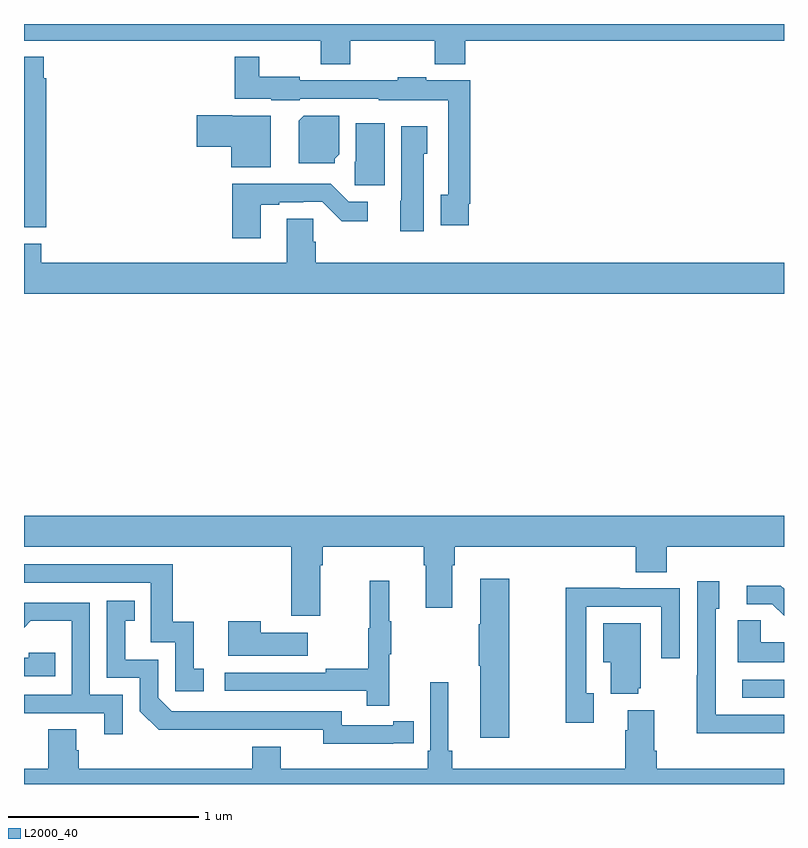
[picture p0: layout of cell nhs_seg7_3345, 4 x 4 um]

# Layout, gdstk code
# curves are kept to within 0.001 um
import gdstk
lib = gdstk.Library(unit=1e-6, precision=1e-09)
def R(c, l, rs):  # rectangles x0, y0, x1, y1
    for r in rs: c.add(gdstk.rectangle(r[:2], r[2:], *l))
def P(c, l, *ps):  # polygons
    for p in ps: c.add(gdstk.Polygon(p, *l))
L2000_40 = (2000, 40)

nhs_seg7_3345 = lib.new_cell('nhs_seg7_3345')
R(nhs_seg7_3345, L2000_40, [(326.781,1034.454,327,1034.55)])
P(nhs_seg7_3345, L2000_40, [(324.717,1037.912),(325.162,1037.912),(325.162,1037.788),(325.322,1037.788),(325.322,1037.912),(327,1037.912),(327,1038),(323,1038),(323,1037.912),(324.562,1037.912),(324.562,1037.788),(324.717,1037.788)],
  [(325.342,1037.053),(325.349,1037.053),(325.349,1037.703),(325.116,1037.703),(325.116,1037.721),(324.966,1037.721),(324.966,1037.703),(324.45,1037.703),(324.45,1037.722),(324.238,1037.722),(324.238,1037.827),(324.109,1037.827),(324.109,1037.606),(324.3,1037.606),(324.3,1037.6),(324.45,1037.6),(324.45,1037.607),(324.867,1037.607),(324.867,1037.6),(325.233,1037.6),(325.233,1037.102),(325.193,1037.102),(325.193,1036.941),(325.342,1036.941)],
  [(323.117,1037.714),(323.104,1037.714),(323.104,1037.827),(323,1037.827),(323,1036.93),(323.117,1036.93)],
  [(324.298,1037.518),(324.096,1037.518),(324.096,1037.52),(323.91,1037.52),(323.91,1037.354),(324.092,1037.354),(324.092,1037.246),(324.298,1037.246)],
  [(324.636,1037.292),(324.658,1037.314),(324.658,1037.518),(324.472,1037.518),(324.446,1037.492),(324.446,1037.267),(324.636,1037.267)],
  [(324.898,1037.478),(324.746,1037.478),(324.746,1037.274),(324.742,1037.274),(324.742,1037.151),(324.898,1037.151)],
  [(325.105,1037.316),(325.123,1037.316),(325.123,1037.461),(324.986,1037.461),(324.986,1037.07),(324.98,1037.07),(324.98,1036.908),(325.105,1036.908)],
  [(324.247,1037.049),(324.343,1037.049),(324.343,1037.061),(324.47,1037.061),(324.47,1037.064),(324.57,1037.064),(324.673,1036.962),(324.808,1036.962),(324.808,1037.064),(324.708,1037.064),(324.614,1037.158),(324.095,1037.158),(324.095,1036.872),(324.247,1036.872)],
  [(327,1036.744),(324.536,1036.744),(324.536,1036.854),(324.522,1036.854),(324.522,1036.976),(324.383,1036.976),(324.383,1036.744),(323.09,1036.744),(323.09,1036.843),(323,1036.843),(323,1036.58),(327,1036.58)],
  [(324.559,1035.152),(324.572,1035.152),(324.572,1035.248),(325.103,1035.248),(325.103,1035.152),(325.115,1035.152),(325.115,1034.928),(325.255,1034.928),(325.255,1035.152),(325.268,1035.152),(325.268,1035.248),(326.219,1035.248),(326.219,1035.115),(326.384,1035.115),(326.384,1035.248),(327,1035.248),(327,1035.412),(323,1035.412),(323,1035.248),(324.407,1035.248),(324.407,1034.886),(324.559,1034.886)],
  [(323.947,1034.607),(323.894,1034.607),(323.894,1034.853),(323.783,1034.853),(323.783,1035.156),(323,1035.156),(323,1035.06),(323.667,1035.06),(323.667,1034.745),(323.796,1034.745),(323.796,1034.487),(323.947,1034.487)],
  [(325.554,1035.079),(325.4,1035.079),(325.4,1034.84),(325.393,1034.84),(325.393,1034.623),(325.4,1034.623),(325.4,1034.244),(325.554,1034.244)],
  [(324.923,1034.683),(324.934,1034.683),(324.934,1034.857),(324.923,1034.857),(324.923,1035.07),(324.82,1035.07),(324.82,1034.82),(324.813,1034.82),(324.813,1034.606),(324.589,1034.606),(324.589,1034.586),(324.057,1034.586),(324.057,1034.49),(324.805,1034.49),(324.805,1034.412),(324.923,1034.412)],
  [(327,1034.364),(326.64,1034.364),(326.64,1034.922),(326.659,1034.922),(326.659,1035.067),(326.544,1035.067),(326.544,1034.573),(326.542,1034.573),(326.542,1034.267),(327,1034.267)],
  [(327,1035.027),(326.983,1035.044),(326.805,1035.044),(326.805,1034.946),(326.939,1034.946),(327,1034.885)],
  [(325.999,1034.478),(325.959,1034.478),(325.959,1034.934),(326.355,1034.934),(326.355,1034.661),(326.451,1034.661),(326.451,1035.03),(326.135,1035.03),(326.135,1035.032),(325.851,1035.032),(325.851,1034.322),(325.999,1034.322)],
  [(324.944,1034.214),(325.052,1034.214),(325.052,1034.33),(324.944,1034.33),(324.944,1034.31),(324.672,1034.31),(324.672,1034.382),(323.778,1034.382),(323.706,1034.454),(323.706,1034.655),(323.533,1034.655),(323.533,1034.859),(323.582,1034.859),(323.582,1034.965),(323.436,1034.965),(323.436,1034.559),(323.61,1034.559),(323.61,1034.382),(323.708,1034.285),(324.576,1034.286),(324.576,1034.213)],
  [(323.52,1034.469),(323.346,1034.469),(323.346,1034.955),(323,1034.955),(323,1034.822),(323.036,1034.858),(323.25,1034.858),(323.25,1034.469),(323,1034.469),(323,1034.373),(323.423,1034.373),(323.423,1034.262),(323.52,1034.262)],
  [(327,1034.746),(326.877,1034.746),(326.877,1034.861),(326.756,1034.861),(326.756,1034.642),(327,1034.642)],
  [(324.493,1034.797),(324.245,1034.797),(324.245,1034.857),(324.074,1034.857),(324.074,1034.675),(324.493,1034.675)],
  [(326.234,1034.505),(326.245,1034.505),(326.245,1034.845),(326.048,1034.845),(326.048,1034.642),(326.087,1034.642),(326.087,1034.474),(326.234,1034.474)],
  [(323.165,1034.691),(323.025,1034.691),(323.025,1034.664),(323,1034.664),(323,1034.568),(323.165,1034.568)],
  [(327,1034.08),(326.33,1034.08),(326.33,1034.176),(326.317,1034.176),(326.317,1034.389),(326.177,1034.389),(326.177,1034.282),(326.165,1034.282),(326.165,1034.08),(325.253,1034.08),(325.253,1034.176),(325.234,1034.176),(325.234,1034.536),(325.137,1034.536),(325.137,1034.176),(325.124,1034.176),(325.124,1034.08),(324.352,1034.08),(324.352,1034.197),(324.2,1034.197),(324.2,1034.08),(323.288,1034.08),(323.288,1034.178),(323.275,1034.178),(323.275,1034.288),(323.128,1034.288),(323.128,1034.08),(323,1034.08),(323,1034),(327,1034)])

lib.write_gds('nhs_seg7_3345.gds')
